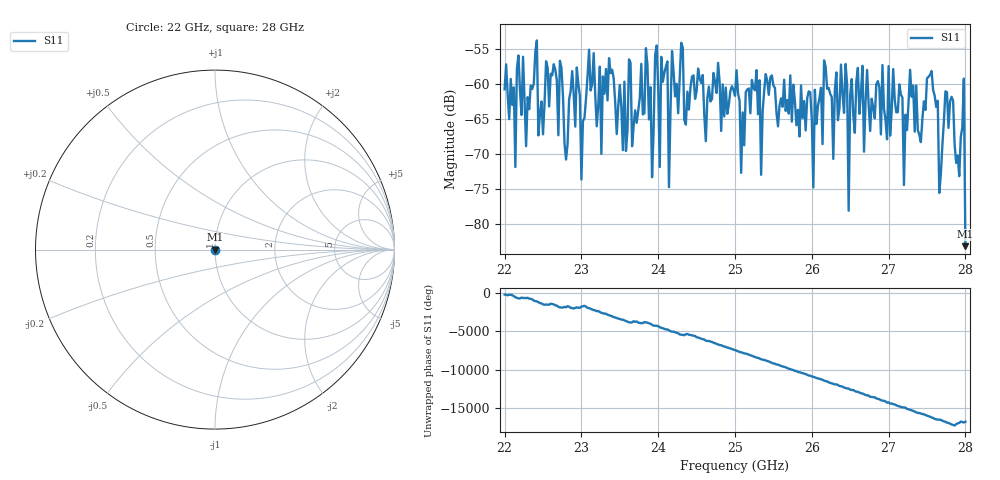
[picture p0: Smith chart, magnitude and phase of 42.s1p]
#  HZ  S  RI  R  50.00
! Rohde & Schwarz ZVA40 4Ports - Version 3.90 - 1145.1110k42 SN: 100403
! Date: 2023-10-04 06:47:58
! Measurement: S12
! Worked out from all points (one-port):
!   301 points, 22 GHz to 28 GHz, reference 50 ohm
!   lowest |S11| = -83.2 dB at 28 GHz (marker M1), VSWR 1.00, Z = 50 + j0.00688 ohm
!   |S11| at or under -10 dB: start of sweep to end of sweep
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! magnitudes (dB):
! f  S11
! 22 GHz  -60.8
! 22.76 GHz  -61.8
! 22.94 GHz  -57.7
! 23 GHz  -73.7
! 23.1 GHz  -55.1
! 23.26 GHz  -70.0
! 23.5 GHz  -60.2
! 24.26 GHz  -64.2
! 25 GHz  -61.7
! 25.08 GHz  -72.7
! 25.28 GHz  -58.0
! 25.34 GHz  -73.0
! 25.4 GHz  -58.6
! 25.76 GHz  -60.1
! 25.98 GHz  -61.2
! 26.02 GHz  -74.8
! 26.04 GHz  -60.8
! 26.28 GHz  -70.7
! 26.44 GHz  -57.2
! 26.48 GHz  -78.1
! 26.5 GHz  -61.6
! 27.06 GHz  -57.9
! 27.2 GHz  -74.4
! 27.26 GHz  -62.6
! 27.56 GHz  -58.2
! 27.66 GHz  -75.6
! 27.98 GHz  -59.3
! 28 GHz  -83.2
